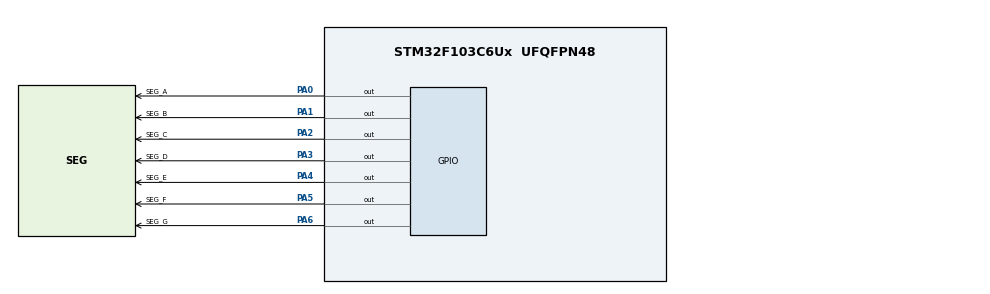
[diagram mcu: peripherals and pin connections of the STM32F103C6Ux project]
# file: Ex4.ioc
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Mcu.Family=STM32F1
Mcu.Name=STM32F103C6Ux
Mcu.Package=UFQFPN48
NVIC.PriorityGroup=NVIC_PRIORITYGROUP_4
PA0-WKUP.GPIO_Label=SEG_A
PA0-WKUP.Signal=GPIO_Output
PA1.GPIO_Label=SEG_B
PA1.Signal=GPIO_Output
PA2.GPIO_Label=SEG_C
PA2.Signal=GPIO_Output
PA3.GPIO_Label=SEG_D
PA3.Signal=GPIO_Output
PA4.GPIO_Label=SEG_E
PA4.Signal=GPIO_Output
PA5.GPIO_Label=SEG_F
PA5.Signal=GPIO_Output
PA6.GPIO_Label=SEG_G
PA6.Signal=GPIO_Output
ProjectManager.HeapSize=0x200
ProjectManager.StackSize=0x400
ProjectManager.TargetToolchain=STM32CubeIDE
RCC.APB1Freq_Value=8000000
RCC.APB2Freq_Value=8000000
VP_SYS_VS_ND.Mode=No_Debug
board=custom

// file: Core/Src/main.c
/* USER CODE BEGIN Header */
/**
  ******************************************************************************
  * @file           : main.c
  * @brief          : Main program body
  ******************************************************************************
  * @attention
  *
  * <h2><center>&copy; Copyright (c) 2026 STMicroelectronics.
  * All rights reserved.</center></h2>
  *
  * This software component is licensed by ST under BSD 3-Clause license,
  * the "License"; You may not use this file except in compliance with the
  * License. You may obtain a copy of the License at:
  *                        opensource.org/licenses/BSD-3-Clause
  *
  ******************************************************************************
  */
/* USER CODE END Header */
#include "main.h"

void SystemClock_Config(void);
static void MX_GPIO_Init(void);

int main(void)
{

  /* MCU Configuration--------------------------------------------------------*/

  /* Reset of all peripherals, Initializes the Flash interface and the Systick. */
  HAL_Init();

  /* Configure the system clock */
  SystemClock_Config();

  /* Initialize all configured peripherals */
  MX_GPIO_Init();

  /* Infinite loop */
  while (1)
  {
	  static int counter = 0;
	      if (counter >= 10) counter = 0;
	      display7SEG(counter++);
	      HAL_Delay(1000);
  }
}

void SystemClock_Config(void)
{
  RCC_OscInitTypeDef RCC_OscInitStruct = {0};
  RCC_ClkInitTypeDef RCC_ClkInitStruct = {0};

  /** Initializes the RCC Oscillators according to the specified parameters
  * in the RCC_OscInitTypeDef structure.
  */
  RCC_OscInitStruct.OscillatorType = RCC_OSCILLATORTYPE_HSI;
  RCC_OscInitStruct.HSIState = RCC_HSI_ON;
  RCC_OscInitStruct.HSICalibrationValue = RCC_HSICALIBRATION_DEFAULT;
  RCC_OscInitStruct.PLL.PLLState = RCC_PLL_NONE;
  if (HAL_RCC_OscConfig(&RCC_OscInitStruct) != HAL_OK)
  {
    Error_Handler();
  }
  /** Initializes the CPU, AHB and APB buses clocks
  */
  RCC_ClkInitStruct.ClockType = RCC_CLOCKTYPE_HCLK|RCC_CLOCKTYPE_SYSCLK
                              |RCC_CLOCKTYPE_PCLK1|RCC_CLOCKTYPE_PCLK2;
  RCC_ClkInitStruct.SYSCLKSource = RCC_SYSCLKSOURCE_HSI;
  RCC_ClkInitStruct.AHBCLKDivider = RCC_SYSCLK_DIV1;
  RCC_ClkInitStruct.APB1CLKDivider = RCC_HCLK_DIV1;
  RCC_ClkInitStruct.APB2CLKDivider = RCC_HCLK_DIV1;

  if (HAL_RCC_ClockConfig(&RCC_ClkInitStruct, FLASH_LATENCY_0) != HAL_OK)
  {
    Error_Handler();
  }
}

static void MX_GPIO_Init(void)
{
  GPIO_InitTypeDef GPIO_InitStruct = {0};

  /* GPIO Ports Clock Enable */
  __HAL_RCC_GPIOA_CLK_ENABLE();

  /*Configure GPIO pin Output Level */
  HAL_GPIO_WritePin(GPIOA, SEG_A_Pin|SEG_B_Pin|SEG_C_Pin|SEG_D_Pin
                          |SEG_E_Pin|SEG_F_Pin|SEG_G_Pin, GPIO_PIN_RESET);

  /*Configure GPIO pins : SEG_A_Pin SEG_B_Pin SEG_C_Pin SEG_D_Pin
                           SEG_E_Pin SEG_F_Pin SEG_G_Pin */
  GPIO_InitStruct.Pin = SEG_A_Pin|SEG_B_Pin|SEG_C_Pin|SEG_D_Pin
                          |SEG_E_Pin|SEG_F_Pin|SEG_G_Pin;
  GPIO_InitStruct.Mode = GPIO_MODE_OUTPUT_PP;
  GPIO_InitStruct.Pull = GPIO_NOPULL;
  GPIO_InitStruct.Speed = GPIO_SPEED_FREQ_LOW;
  HAL_GPIO_Init(GPIOA, &GPIO_InitStruct);

}

/* USER CODE BEGIN 4 */
void display7SEG(int num)
{
    if (num == 0) {
        HAL_GPIO_WritePin(GPIOA, SEG_A_Pin, GPIO_PIN_RESET);
        HAL_GPIO_WritePin(GPIOA, SEG_B_Pin, GPIO_PIN_RESET);
        HAL_GPIO_WritePin(GPIOA, SEG_C_Pin, GPIO_PIN_RESET);
        HAL_GPIO_WritePin(GPIOA, SEG_D_Pin, GPIO_PIN_RESET);
        HAL_GPIO_WritePin(GPIOA, SEG_E_Pin, GPIO_PIN_RESET);
        HAL_GPIO_WritePin(GPIOA, SEG_F_Pin, GPIO_PIN_RESET);
        HAL_GPIO_WritePin(GPIOA, SEG_G_Pin, GPIO_PIN_SET);
    }
    else if (num == 1) {
        HAL_GPIO_WritePin(GPIOA, SEG_A_Pin, GPIO_PIN_SET);
        HAL_GPIO_WritePin(GPIOA, SEG_B_Pin, GPIO_PIN_RESET);
        HAL_GPIO_WritePin(GPIOA, SEG_C_Pin, GPIO_PIN_RESET);
        HAL_GPIO_WritePin(GPIOA, SEG_D_Pin, GPIO_PIN_SET);
        HAL_GPIO_WritePin(GPIOA, SEG_E_Pin, GPIO_PIN_SET);
        HAL_GPIO_WritePin(GPIOA, SEG_F_Pin, GPIO_PIN_SET);
        HAL_GPIO_WritePin(GPIOA, SEG_G_Pin, GPIO_PIN_SET);
    }
    else if (num == 2) {
        HAL_GPIO_WritePin(GPIOA, SEG_A_Pin, GPIO_PIN_RESET);
        HAL_GPIO_WritePin(GPIOA, SEG_B_Pin, GPIO_PIN_RESET);
        HAL_GPIO_WritePin(GPIOA, SEG_C_Pin, GPIO_PIN_SET);
        HAL_GPIO_WritePin(GPIOA, SEG_D_Pin, GPIO_PIN_RESET);
        HAL_GPIO_WritePin(GPIOA, SEG_E_Pin, GPIO_PIN_RESET);
        HAL_GPIO_WritePin(GPIOA, SEG_F_Pin, GPIO_PIN_SET);
        HAL_GPIO_WritePin(GPIOA, SEG_G_Pin, GPIO_PIN_RESET);
    }
    else if (num == 3) {
        HAL_GPIO_WritePin(GPIOA, SEG_A_Pin, GPIO_PIN_RESET);
        HAL_GPIO_WritePin(GPIOA, SEG_B_Pin, GPIO_PIN_RESET);
        HAL_GPIO_WritePin(GPIOA, SEG_C_Pin, GPIO_PIN_RESET);
        HAL_GPIO_WritePin(GPIOA, SEG_D_Pin, GPIO_PIN_RESET);
        HAL_GPIO_WritePin(GPIOA, SEG_E_Pin, GPIO_PIN_SET);
        HAL_GPIO_WritePin(GPIOA, SEG_F_Pin, GPIO_PIN_SET);
        HAL_GPIO_WritePin(GPIOA, SEG_G_Pin, GPIO_PIN_RESET);
    }
    else if (num == 4) {
        HAL_GPIO_WritePin(GPIOA, SEG_A_Pin, GPIO_PIN_SET);
        HAL_GPIO_WritePin(GPIOA, SEG_B_Pin, GPIO_PIN_RESET);
        HAL_GPIO_WritePin(GPIOA, SEG_C_Pin, GPIO_PIN_RESET);
        HAL_GPIO_WritePin(GPIOA, SEG_D_Pin, GPIO_PIN_SET);
        HAL_GPIO_WritePin(GPIOA, SEG_E_Pin, GPIO_PIN_SET);
        HAL_GPIO_WritePin(GPIOA, SEG_F_Pin, GPIO_PIN_RESET);
        HAL_GPIO_WritePin(GPIOA, SEG_G_Pin, GPIO_PIN_RESET);
    }
    else if (num == 5) {
        HAL_GPIO_WritePin(GPIOA, SEG_A_Pin, GPIO_PIN_RESET);
        HAL_GPIO_WritePin(GPIOA, SEG_B_Pin, GPIO_PIN_SET);
        HAL_GPIO_WritePin(GPIOA, SEG_C_Pin, GPIO_PIN_RESET);
        HAL_GPIO_WritePin(GPIOA, SEG_D_Pin, GPIO_PIN_RESET);
        HAL_GPIO_WritePin(GPIOA, SEG_E_Pin, GPIO_PIN_SET);
        HAL_GPIO_WritePin(GPIOA, SEG_F_Pin, GPIO_PIN_RESET);
        HAL_GPIO_WritePin(GPIOA, SEG_G_Pin, GPIO_PIN_RESET);
    }
    else if (num == 6) {
        HAL_GPIO_WritePin(GPIOA, SEG_A_Pin, GPIO_PIN_RESET);
        HAL_GPIO_WritePin(GPIOA, SEG_B_Pin, GPIO_PIN_SET);
        HAL_GPIO_WritePin(GPIOA, SEG_C_Pin, GPIO_PIN_RESET);
        HAL_GPIO_WritePin(GPIOA, SEG_D_Pin, GPIO_PIN_RESET);
        HAL_GPIO_WritePin(GPIOA, SEG_E_Pin, GPIO_PIN_RESET);
        HAL_GPIO_WritePin(GPIOA, SEG_F_Pin, GPIO_PIN_RESET);
        HAL_GPIO_WritePin(GPIOA, SEG_G_Pin, GPIO_PIN_RESET);
    }
    else if (num == 7) {
        HAL_GPIO_WritePin(GPIOA, SEG_A_Pin, GPIO_PIN_RESET);
        HAL_GPIO_WritePin(GPIOA, SEG_B_Pin, GPIO_PIN_RESET);
        HAL_GPIO_WritePin(GPIOA, SEG_C_Pin, GPIO_PIN_RESET);
        HAL_GPIO_WritePin(GPIOA, SEG_D_Pin, GPIO_PIN_SET);
        HAL_GPIO_WritePin(GPIOA, SEG_E_Pin, GPIO_PIN_SET);
        HAL_GPIO_WritePin(GPIOA, SEG_F_Pin, GPIO_PIN_SET);
        HAL_GPIO_WritePin(GPIOA, SEG_G_Pin, GPIO_PIN_SET);
    }
    else if (num == 8) {
        HAL_GPIO_WritePin(GPIOA, SEG_A_Pin, GPIO_PIN_RESET);
        HAL_GPIO_WritePin(GPIOA, SEG_B_Pin, GPIO_PIN_RESET);
        HAL_GPIO_WritePin(GPIOA, SEG_C_Pin, GPIO_PIN_RESET);
        HAL_GPIO_WritePin(GPIOA, SEG_D_Pin, GPIO_PIN_RESET);
        HAL_GPIO_WritePin(GPIOA, SEG_E_Pin, GPIO_PIN_RESET);
        HAL_GPIO_WritePin(GPIOA, SEG_F_Pin, GPIO_PIN_RESET);
        HAL_GPIO_WritePin(GPIOA, SEG_G_Pin, GPIO_PIN_RESET);
    }
    else if (num == 9) {
        HAL_GPIO_WritePin(GPIOA, SEG_A_Pin, GPIO_PIN_RESET);
        HAL_GPIO_WritePin(GPIOA, SEG_B_Pin, GPIO_PIN_RESET);
        HAL_GPIO_WritePin(GPIOA, SEG_C_Pin, GPIO_PIN_RESET);
        HAL_GPIO_WritePin(GPIOA, SEG_D_Pin, GPIO_PIN_RESET);
        HAL_GPIO_WritePin(GPIOA, SEG_E_Pin, GPIO_PIN_SET);
        HAL_GPIO_WritePin(GPIOA, SEG_F_Pin, GPIO_PIN_RESET);
        HAL_GPIO_WritePin(GPIOA, SEG_G_Pin, GPIO_PIN_RESET);
    }
    else {
        HAL_GPIO_WritePin(GPIOA, SEG_A_Pin, GPIO_PIN_SET);
        HAL_GPIO_WritePin(GPIOA, SEG_B_Pin, GPIO_PIN_SET);
        HAL_GPIO_WritePin(GPIOA, SEG_C_Pin, GPIO_PIN_SET);
        HAL_GPIO_WritePin(GPIOA, SEG_D_Pin, GPIO_PIN_SET);
        HAL_GPIO_WritePin(GPIOA, SEG_E_Pin, GPIO_PIN_SET);
        HAL_GPIO_WritePin(GPIOA, SEG_F_Pin, GPIO_PIN_SET);
        HAL_GPIO_WritePin(GPIOA, SEG_G_Pin, GPIO_PIN_SET);
    }
}

/* USER CODE END 4 */

void Error_Handler(void)
{
  __disable_irq();
  while (1)
  {
  }
}

/************************ (C) COPYRIGHT STMicroelectronics *****END OF FILE****/
